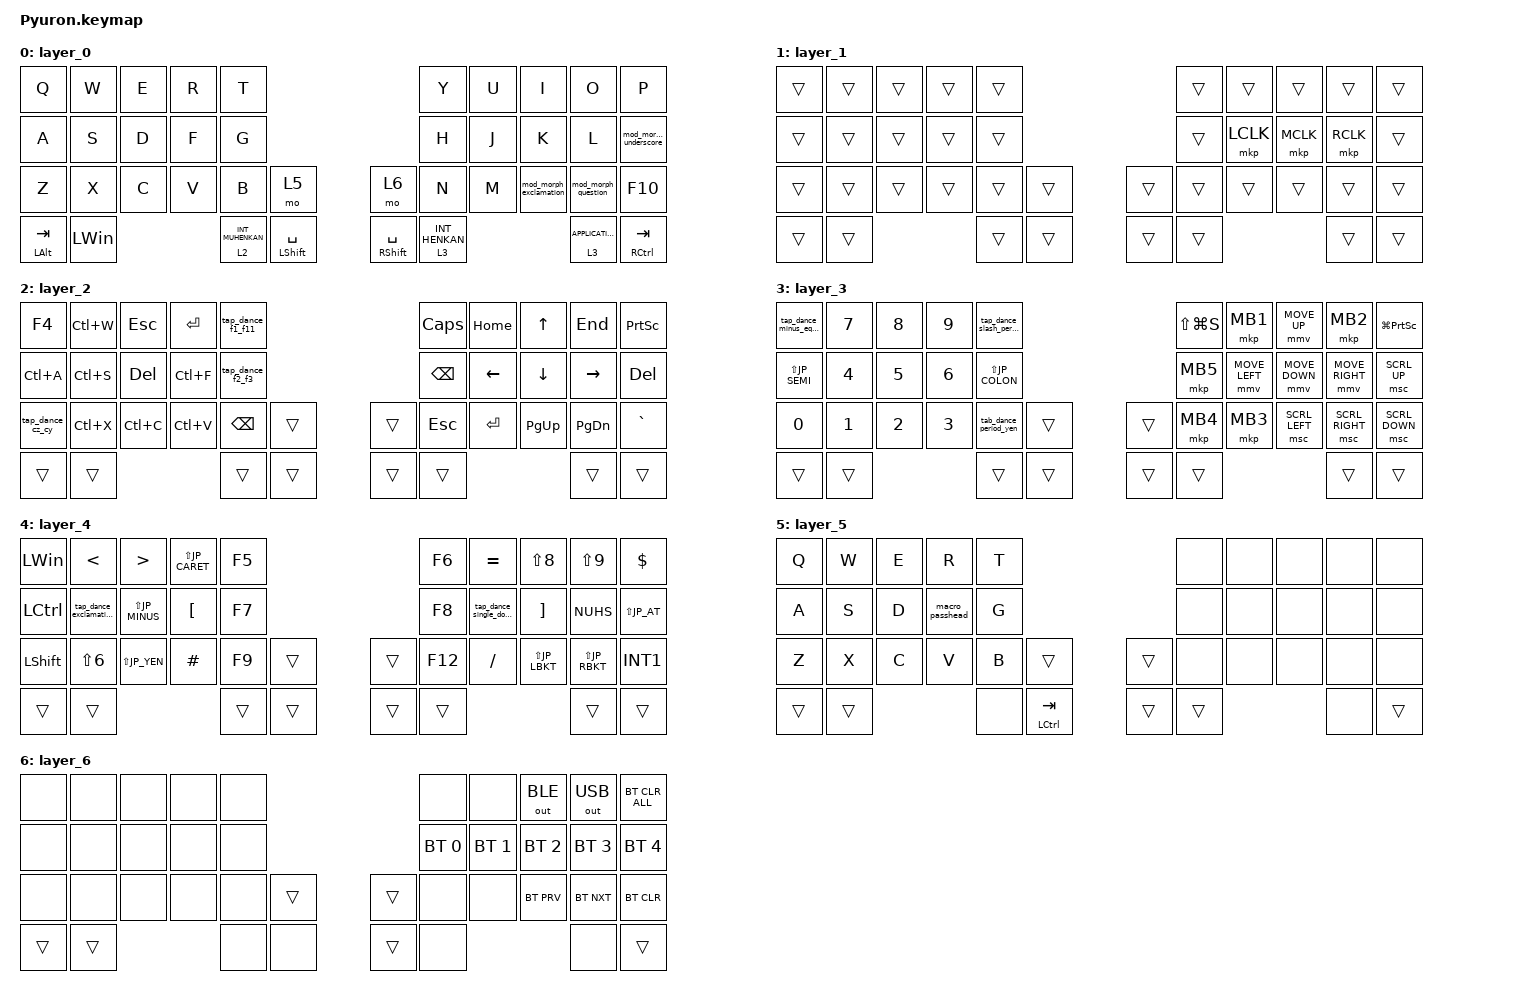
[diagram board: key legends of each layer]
#include <behaviors.dtsi>
#include <dt-bindings/zmk/bt.h>
#include <dt-bindings/zmk/keys.h>
#include <dt-bindings/zmk/outputs.h>
#include <dt-bindings/zmk/pointing.h>

#define JP_ZKHK  GRAVE        // Zenkaku ↔ Hankaku ↔ Kanji (半角 ↔ 全角 ↔ 漢字)
#define JP_MINUS MINUS        // -
#define JP_CARET EQUAL        // ^
#define JP_YEN   INT3         // ¥
#define JP_AT    LBKT         // @
#define JP_LBKT  RBKT         // [
#define JP_EISU  CAPS         // Eisū (英数)
#define JP_SEMI  SEMI         // ;
#define JP_COLON SQT          // :
#define JP_RBKT  NUHS         // ]
#define JP_COMMA COMMA        // ,
#define JP_DOT   DOT          // .
#define JP_SLASH SLASH        // /
#define JP_BSLH  INT1         // (backslash)
#define JP_MHEN  INT5         // Muhenkan (無変換)
#define JP_HENK  INT4         // Henkan (変換)
#define JP_KANA  INT2         // Katakana ↔ Hiragana ↔ Rōmaji (カタカナ ↔ ひらがな ↔ ローマ字)
#define JP_EXCL  LS(N1)       // !
#define JP_DQT   LS(N2)       // "
#define JP_HASH  LS(N3)       // #
#define JP_DLLR  LS(N4)       // $
#define JP_PRCNT LS(N5)       // %
#define JP_AMPS  LS(N6)       // &
#define JP_SQT   LS(N7)       // '
#define JP_LPAR  LS(N8)       // (
#define JP_RPAR  LS(N9)       // )
#define JP_EQUAL LS(JP_MINUS) // =
#define JP_TILDE LS(JP_CARET) // ~
#define JP_PIPE  LS(JP_YEN)   // |
#define JP_GRAVE LS(JP_AT)    // `
#define JP_LBRC  LS(JP_LBKT)  // {
#define JP_CAPS  LS(JP_EISU)  // Caps Lock
#define JP_PLUS  LS(JP_SEMI)  // +
#define JP_ASTRK LS(JP_COLON) // *
#define JP_RBRC  LS(JP_RBKT)  // }
#define JP_LT    LS(JP_COMMA) // <
#define JP_RT    LS(JP_DOT)   // >
#define JP_QMARK LS(JP_SLASH) // ?
#define JP_UNDER LS(JP_BSLH)  // _

&lt {
    flavor = "balanced";
    tapping-term-ms = <160>;
};

&mt {
    flavor = "balanced";
    tapping-term-ms = <160>;
};

&caps_word { continue-list = <UNDERSCORE BACKSPACE DELETE JP_UNDER>; };

/ {
    combos {
        compatible = "zmk,combos";

        combo_alt_spc_m {
            bindings = <&macro_alt_spc_m>;
            key-positions = <11 12>;
        };

        combo_alt_spc_s {
            bindings = <&macro_alt_spc_s>;
            key-positions = <11 13>;
        };

        combo_shift_win_left {
            bindings = <&kp LS(LG(LEFT_ARROW))>;
            key-positions = <0 1>;
        };

        combo_shift_win_right {
            bindings = <&kp LS(LG(RIGHT_ARROW))>;
            key-positions = <12 13>;
        };

        combo_win_tab {
            bindings = <&kp LG(TAB)>;
            key-positions = <20 23>;
        };

        combo_ctl_win_left {
            bindings = <&kp LC(LG(LEFT_ARROW))>;
            key-positions = <20 21>;
        };

        combo_ctl_win_right {
            bindings = <&kp LC(LG(RIGHT_ARROW))>;
            key-positions = <22 23>;
        };

        combo_ctl_win_d {
            bindings = <&kp LC(LG(D))>;
            key-positions = <21 23>;
        };

        combo_ctl_win_f4 {
            bindings = <&kp LC(LG(F4))>;
            key-positions = <20 22>;
        };

        combo_caps_word {
            bindings = <&caps_word>;
            key-positions = <21 22>;
        };

        macro_alt_win_4 {
            bindings = <&kp LA(LG(NUMBER_4))>;
            key-positions = <16 17>;
        };

        macro_alt_win_5 {
            bindings = <&kp LA(LG(NUMBER_5))>;
            key-positions = <17 18>;
        };

        macro_alt_win_6 {
            bindings = <&kp LA(LG(NUMBER_6))>;
            key-positions = <18 19>;
        };

        macro_ctl_sft_a {
            bindings = <&kp LS(LC(A))>;
            key-positions = <16 18>;
        };

        macro_alt_e {
            bindings = <&kp LA(E)>;
            key-positions = <17 19>;
        };

        macro_alt_d {
            bindings = <&kp LA(D)>;
            key-positions = <16 19>;
        };

        macro_ctl_t {
            bindings = <&kp LC(T)>;
            key-positions = <28 30>;
        };

        macro_ctl_w {
            bindings = <&kp LC(W)>;
            key-positions = <29 31>;
        };

        macro_ctl_sft_t {
            bindings = <&kp LS(LC(T))>;
            key-positions = <29 30>;
        };

        macro_ctl_sft_o {
            bindings = <&kp LS(LC(O))>;
            key-positions = <28 31>;
        };

        macro_ctl_pgup {
            bindings = <&kp LC(PAGE_UP)>;
            key-positions = <28 29>;
        };

        macro_ctl_pgdown {
            bindings = <&kp LC(PAGE_DOWN)>;
            key-positions = <30 31>;
        };
    };

    behaviors {
        mod_morph_minus_underscore: mod_morph_minus_underscore {
            compatible = "zmk,behavior-mod-morph";
            label = "MOD_MORPH_MINUS_UNDERSCORE";
            bindings = <&kp MINUS>, <&kp JP_UNDER>;

            #binding-cells = <0>;
            mods = <(MOD_RSFT|MOD_LSFT)>;
        };

        tap_dance_comma_semicolon: tap_dance_comma_semicolon {
            compatible = "zmk,behavior-tap-dance";
            label = "TAP_DANCE_COMMA_SEMICOLON";
            #binding-cells = <0>;
            bindings = <&kp COMMA>, <&kp SEMICOLON>;
        };

        tap_dance_period_colon: tap_dance_period_colon {
            compatible = "zmk,behavior-tap-dance";
            label = "TAP_DANCE_PERIOD_COLON";
            #binding-cells = <0>;
            bindings = <&kp PERIOD>, <&kp JP_COLON>;
        };

        mod_morph_exclamation: mod_morph_exclamation {
            compatible = "zmk,behavior-mod-morph";
            label = "MOD_MORPH_EXCLAMATION";
            bindings = <&tap_dance_comma_semicolon>, <&kp EXCLAMATION>;

            #binding-cells = <0>;
            mods = <(MOD_RSFT|MOD_LSFT)>;
        };

        mod_morph_question: mod_morph_question {
            compatible = "zmk,behavior-mod-morph";
            label = "MOD_MORPH_QUESTION";
            bindings = <&tap_dance_period_colon>, <&kp QUESTION>;

            #binding-cells = <0>;
            mods = <(MOD_RSFT|MOD_LSFT)>;
        };

        tap_dance_f1_f11: tap_dance_f1_f11 {
            compatible = "zmk,behavior-tap-dance";
            label = "TAP_DANCE_F1_F11";
            #binding-cells = <0>;
            bindings = <&kp F1>, <&kp F11>;
        };

        tap_dance_f2_f3: tap_dance_f2_f3 {
            compatible = "zmk,behavior-tap-dance";
            label = "TAP_DANCE_F2_F3";
            #binding-cells = <0>;
            bindings = <&kp F2>, <&kp F3>;
        };

        tap_dance_cz_cy: tap_dance_cz_cy {
            compatible = "zmk,behavior-tap-dance";
            label = "TAP_DANCE_CZ_CY";
            #binding-cells = <0>;
            bindings = <&kp LC(Z)>, <&kp LC(Y)>;
        };

        tap_dance_minus_equal: tap_dance_minus_equal {
            compatible = "zmk,behavior-tap-dance";
            label = "TAP_DANCE_MINUS_EQUAL";
            #binding-cells = <0>;
            bindings = <&kp MINUS>, <&kp JP_EQUAL>;
        };

        tap_dance_slash_percent: tap_dance_slash_percent {
            compatible = "zmk,behavior-tap-dance";
            label = "TAP_DANCE_SLASH_PERCENT";
            #binding-cells = <0>;
            bindings = <&kp SLASH>, <&kp PERCENT>;
        };

        tap_dance_exclamation_question: tap_dance_exclamation_question {
            compatible = "zmk,behavior-tap-dance";
            label = "TAP_DANCE_EXCLAMATION_QUESTION";
            #binding-cells = <0>;
            bindings = <&kp EXCLAMATION>, <&kp QUESTION>;
        };

        tap_dance_single_double: tap_dance_single_double {
            compatible = "zmk,behavior-tap-dance";
            label = "TAP_DANCE_SINGLE_DOUBLE";
            #binding-cells = <0>;
            bindings = <&kp JP_SQT>, <&kp JP_DQT>;
        };

        tab_dance_period_yen: tab_dance_period_yen {
            compatible = "zmk,behavior-tap-dance";
            label = "TAB_DANCE_PERIOD_YEN";
            #binding-cells = <0>;
            bindings = <&kp PERIOD>, <&kp JP_YEN>;
        };
    };

    macros {
        macro_alt_spc_m: macro_alt_spc_m {
            compatible = "zmk,behavior-macro";
            #binding-cells = <0>;
            bindings = <&kp LA(SPACE) &kp M>;
            label = "MACRO_ALT_SPC_M";
        };

        macro_alt_spc_s: macro_alt_spc_s {
            compatible = "zmk,behavior-macro";
            #binding-cells = <0>;
            bindings = <&kp LA(SPACE) &kp S>;
            label = "MACRO_ALT_SPC_S";
        };

        macro_passhead: macro_passhead {
            compatible = "zmk,behavior-macro";
            #binding-cells = <0>;
            bindings = <&none &kp LS(T) &kp JP_AT &kp K &kp N3>;
            label = "MACRO_PASSHEAD";
        };
    };

    keymap {
        compatible = "zmk,keymap";

        layer_0 {
            bindings = <
&kp Q             &kp W         &kp E  &kp R  &kp T                                                             &kp Y                 &kp U                  &kp I             &kp O                &kp P
&kp A             &kp S         &kp D  &kp F  &kp G                                                             &kp H                 &kp J                  &kp K             &kp L                &mod_morph_minus_underscore
&kp Z             &kp X         &kp C  &kp V  &kp B                 &mo 5                &mo 6                  &kp N                 &kp M                  &mod_morph_exclamation &mod_morph_question &kp F10
&mt LEFT_ALT TAB  &kp LEFT_WIN  &lt 2 INT_MUHENKAN &mt LEFT_SHIFT SPACE                                         &mt RIGHT_SHIFT SPACE &lt 3 INT_HENKAN       &lt 3 K_APPLICATION  &mt RIGHT_CONTROL TAB
            >;
        };

        layer_1 {
            bindings = <
&trans  &trans  &trans  &trans  &trans                  &trans  &trans     &trans     &trans     &trans
&trans  &trans  &trans  &trans  &trans                  &trans  &mkp LCLK  &mkp MCLK  &mkp RCLK  &trans
&trans  &trans  &trans  &trans  &trans  &trans  &trans  &trans  &trans     &trans     &trans     &trans
&trans  &trans  &trans  &trans                          &trans  &trans     &trans     &trans
            >;
        };

        layer_2 {
            bindings = <
&kp F4            &kp LC(W)  &kp ESCAPE  &kp ENTER  &tap_dance_f1_f11                  &kp CAPSLOCK   &kp HOME        &kp UP_ARROW    &kp END          &kp PRINTSCREEN
&kp LC(A)         &kp LC(S)  &kp DELETE  &kp LC(F)  &tap_dance_f2_f3                   &kp BACKSPACE  &kp LEFT_ARROW  &kp DOWN_ARROW  &kp RIGHT_ARROW  &kp DELETE
&tap_dance_cz_cy  &kp LC(X)  &kp LC(C)   &kp LC(V)  &kp BACKSPACE      &trans  &trans  &kp ESCAPE     &kp ENTER       &kp PAGE_UP     &kp PAGE_DOWN    &kp JP_ZKHK
&trans            &trans     &trans      &trans                                &trans         &trans          &trans          &trans
            >;
        };

        layer_3 {
            bindings = <
&tap_dance_minus_equal  &kp NUMBER_7  &kp NUMBER_8  &kp NUMBER_9  &tap_dance_slash_percent                  &kp LS(LG(S))  &mkp MB1        &mmv MOVE_UP    &mkp MB2         &kp LG(PRINTSCREEN)
&kp JP_PLUS             &kp NUMBER_4  &kp NUMBER_5  &kp NUMBER_6  &kp JP_ASTRK                              &mkp MB5       &mmv MOVE_LEFT  &mmv MOVE_DOWN  &mmv MOVE_RIGHT  &msc SCRL_UP
&kp NUMBER_0            &kp NUMBER_1  &kp NUMBER_2  &kp NUMBER_3  &tab_dance_period_yen     &trans  &trans  &mkp MB4       &mkp MB3        &msc SCRL_LEFT  &msc SCRL_RIGHT  &msc SCRL_DOWN
&trans                  &trans        &trans        &trans                                                  &trans         &trans          &trans          &trans
            >;
        };

        layer_4 {
            bindings = <
&kp LEFT_WIN    &kp LESS_THAN                    &kp GREATER_THAN  &kp JP_TILDE  &kp F5                  &kp F6   &kp JP_CARET              &kp JP_LPAR  &kp JP_RPAR  &kp DOLLAR
&kp LCTRL       &tap_dance_exclamation_question  &kp JP_EQUAL      &kp JP_AT     &kp F7                  &kp F8   &tap_dance_single_double  &kp JP_LBKT  &kp JP_RBKT  &kp JP_GRAVE
&kp LEFT_SHIFT  &kp JP_AMPS                      &kp JP_PIPE       &kp HASH      &kp F9  &trans  &trans  &kp F12  &kp SLASH                 &kp JP_LBRC  &kp JP_RBRC  &kp JP_BSLH
&trans          &trans                           &trans            &trans                                &trans   &trans                    &trans       &trans
            >;
        };

        layer_5 {
            bindings = <
&kp Q   &kp W   &kp E  &kp R            &kp T                          &none   &none  &none  &none   &none
&kp A   &kp S   &kp D  &macro_passhead  &kp G                          &none   &none  &none  &none   &none
&kp Z   &kp X   &kp C  &kp V            &kp B   &trans  &trans         &none   &none  &none  &none   &none
&trans  &trans  &none  &mt LCTRL TAB                                   &trans  &trans &none  &trans
            >;
        };

        layer_6 {
            bindings = <
&none   &none   &none   &none  &none                  &none         &none         &out OUT_BLE  &out OUT_USB  &bt BT_CLR_ALL
&none   &none   &none   &none  &none                  &bt BT_SEL 0  &bt BT_SEL 1  &bt BT_SEL 2  &bt BT_SEL 3  &bt BT_SEL 4
&none   &none   &none   &none  &none   &trans  &trans &none         &none         &bt BT_PRV    &bt BT_NXT    &bt BT_CLR
&trans  &trans  &none   &none                         &trans        &none         &none         &trans
            >;
        };
    };

    conditional_layers {
        compatible = "zmk,conditional-layers";

        condition {
            if-layers = <2 3>;
            then-layer = <4>;
        };
    };
};
